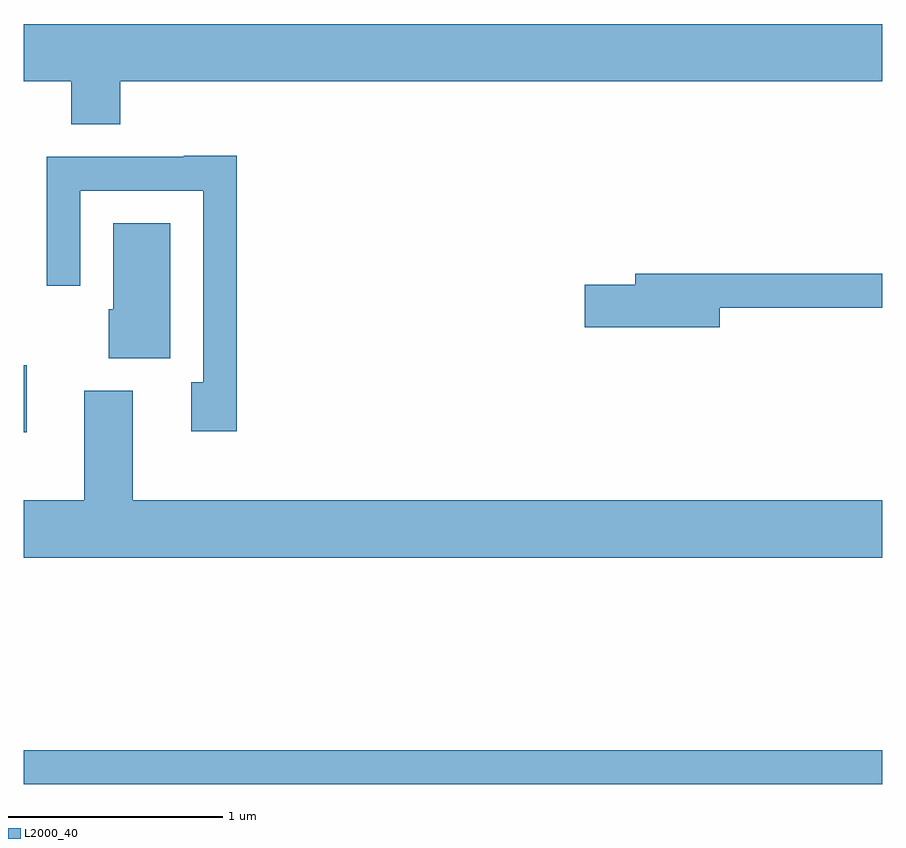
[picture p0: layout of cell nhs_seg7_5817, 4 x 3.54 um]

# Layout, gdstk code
import gdstk
lib = gdstk.Library(unit=1e-6, precision=1e-09)
def R(c, l, rs):  # rectangles x0, y0, x1, y1
    for r in rs: c.add(gdstk.rectangle(r[:2], r[2:], *l))
def P(c, l, *ps):  # polygons
    for p in ps: c.add(gdstk.Polygon(p, *l))
L2000_40 = (2000, 40)

nhs_seg7_5817 = lib.new_cell('nhs_seg7_5817')
R(nhs_seg7_5817, L2000_40, [(363.611,1686.621,367.611,1686.779), (363.611,1688.261,363.624,1688.574)])
P(nhs_seg7_5817, L2000_40, [(364.059,1689.896),(367.611,1689.896),(367.611,1690.164),(363.611,1690.164),(363.611,1689.896),(363.831,1689.896),(363.831,1689.696),(364.059,1689.696)],
  [(364.604,1689.549),(364.355,1689.549),(364.355,1689.544),(363.716,1689.544),(363.716,1688.943),(363.874,1688.943),(363.874,1689.386),(364.446,1689.386),(364.446,1688.494),(364.391,1688.494),(364.391,1688.266),(364.604,1688.266)],
  [(364.294,1689.234),(364.026,1689.234),(364.026,1688.834),(364.006,1688.834),(364.006,1688.606),(364.294,1688.606)],
  [(366.854,1688.841),(367.611,1688.841),(367.611,1688.999),(366.461,1688.999),(366.461,1688.949),(366.226,1688.949),(366.226,1688.751),(366.854,1688.751)],
  [(367.611,1687.944),(364.119,1687.944),(364.119,1688.454),(363.891,1688.454),(363.891,1687.944),(363.611,1687.944),(363.611,1687.676),(367.611,1687.676)])

lib.write_gds('nhs_seg7_5817.gds')
